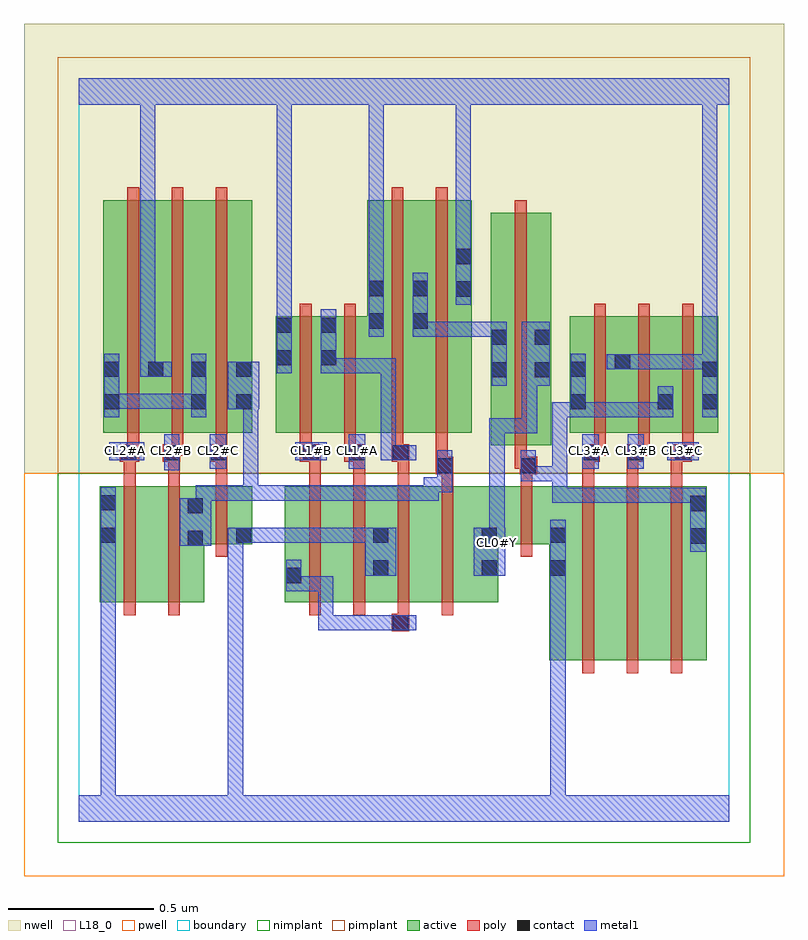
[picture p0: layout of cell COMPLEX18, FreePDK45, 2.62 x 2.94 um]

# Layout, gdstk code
import gdstk
lib = gdstk.Library(unit=1e-6, precision=1e-09)
def R(c, l, rs):  # rectangles x0, y0, x1, y1
    for r in rs: c.add(gdstk.rectangle(r[:2], r[2:], *l))
def A(c, l, x, y, w, h, nx, ny, dx, dy):  # array of equal rectangles
    R(c, l, [(x+i*dx, y+j*dy, x+i*dx+w, y+j*dy+h) for i in range(nx) for j in range(ny)])
active = (1, 0)
pwell = (2, 0)
nwell = (3, 0)
nimplant = (4, 0)
pimplant = (5, 0)
poly = (9, 0)
contact = (10, 0)
metal1 = (11, 0)
L18_0 = (18, 0)
boundary = (235, 0)

complex18 = lib.new_cell('COMPLEX18')
R(complex18, active, [(1.62,0.556,1.83,1.156), (1.83,0.556,1.982,1.156), (1.982,0.556,2.162,1.156), (2.102,0.556,2.162,1.156), (0.072,0.756,0.132,1.156), (0.072,0.756,0.252,1.156), (0.252,0.756,0.432,1.156), (0.372,0.756,0.432,1.128), (0.71,0.756,0.77,1.156), (0.71,0.756,0.89,1.156), (0.89,0.756,1.07,1.156), (1.01,0.756,1.194,1.156), (1.01,0.756,1.07,1.156), (1.194,0.756,1.444,1.156), (1.384,0.844,1.444,1.156), (1.62,0.844,1.68,1.156), (0.372,0.956,0.598,1.156), (0.538,0.956,0.598,1.156), (1.384,0.956,1.68,1.156), (1.418,1.296,1.478,2.044), (1.418,1.296,1.626,2.096), (1.566,1.296,1.626,2.044), (0.084,1.34,0.144,2.14), (0.084,1.34,0.296,2.14), (0.236,1.34,0.444,2.14), (0.236,1.34,0.296,2.044), (0.384,1.34,0.444,2.044), (0.384,1.34,0.598,2.14), (0.538,1.34,0.598,2.044), (0.678,1.34,0.738,1.74), (0.678,1.34,0.89,1.74), (0.83,1.34,0.89,1.74), (0.83,1.34,1.054,1.74), (0.994,1.34,1.054,2.14), (0.994,1.34,1.206,2.14), (1.146,1.34,1.354,2.14), (1.146,1.34,1.206,2.044), (1.294,1.34,1.354,2.14), (1.69,1.34,1.902,1.74), (1.69,1.34,1.75,1.644), (1.842,1.34,2.05,1.74), (1.842,1.34,1.902,1.644), (1.99,1.34,2.202,1.74), (2.142,1.34,2.202,1.74), (1.99,1.416,2.05,1.644)])
R(complex18, pwell, [(-0.188,-0.188,2.428,1.2)])
R(complex18, nwell, [(-0.188,1.2,2.428,2.748)])
R(complex18, nimplant, [(-0.072,-0.072,2.312,1.2)])
R(complex18, pimplant, [(-0.072,1.2,2.312,2.632)])
A(complex18, poly, 1.734, 0.512, 0.04, 0.688, 3, 1, 0.152, 0)
A(complex18, poly, 0.794, 0.712, 0.04, 0.488, 4, 1, 0.152, 0)
A(complex18, poly, 0.794, 1.16, 0.04, 0.12, 3, 1, 0.152, 0)
A(complex18, poly, 1.734, 1.16, 0.04, 0.12, 3, 1, 0.152, 0)
A(complex18, poly, 0.168, 1.26, 0.04, 0.076, 3, 1, 0.152, 0)
A(complex18, poly, 1.774, 1.26, 0.04, 0.076, 3, 1, 0.152, 0)
A(complex18, poly, 0.168, 1.296, 0.04, 0.888, 3, 1, 0.152, 0)
A(complex18, poly, 1.774, 1.296, 0.04, 0.488, 3, 1, 0.152, 0)
R(complex18, poly, [(1.078,0.656,1.138,0.716), (1.098,0.676,1.138,0.752), (0.156,0.712,0.196,1.2), (0.308,0.712,0.348,1.2), (0.472,0.912,0.512,1.2), (1.522,0.912,1.562,1.2), (0.156,1.16,0.196,1.28), (0.308,1.16,0.348,1.28), (0.472,1.16,0.512,1.28), (1.25,1.16,1.29,1.236), (1.522,1.16,1.562,1.236), (1.23,1.196,1.29,1.256), (1.518,1.196,1.578,1.256), (1.23,1.216,1.27,1.256), (1.23,1.216,1.27,1.256), (1.23,1.216,1.27,1.336), (1.502,1.216,1.542,1.292), (1.502,1.216,1.558,1.256), (1.518,1.216,1.558,1.256), (0.142,1.24,0.208,1.3), (0.156,1.24,0.196,1.28), (0.156,1.24,0.196,1.28), (0.29,1.24,0.35,1.3), (0.452,1.24,0.512,1.3), (0.472,1.24,0.512,1.28), (0.472,1.24,0.512,1.28), (0.762,1.24,0.83,1.3), (0.79,1.24,0.83,1.28), (0.79,1.24,0.834,1.28), (0.914,1.24,0.986,1.3), (0.946,1.24,0.986,1.28), (0.946,1.24,0.986,1.28), (1.078,1.24,1.138,1.3), (1.098,1.24,1.138,1.28), (1.098,1.24,1.138,1.28), (1.734,1.24,1.794,1.3), (1.886,1.24,1.946,1.3), (2.038,1.24,2.11,1.3), (1.502,1.252,1.542,2.14), (0.31,1.26,0.35,1.3), (0.31,1.26,0.36,1.3), (0.762,1.26,0.802,1.336), (0.914,1.26,0.954,1.336), (1.078,1.26,1.118,1.336), (1.754,1.26,1.794,1.3), (1.754,1.26,1.814,1.3), (1.906,1.26,1.946,1.3), (1.906,1.26,1.966,1.3), (2.07,1.26,2.11,1.3), (2.07,1.26,2.118,1.3), (0.762,1.296,0.802,1.784), (0.914,1.296,0.954,1.784), (1.078,1.296,1.118,2.184), (1.23,1.296,1.27,2.184)])
R(complex18, contact, [(1.082,0.66,1.134,0.712), (0.714,0.822,0.766,0.874), (1.014,0.848,1.066,0.9), (1.388,0.848,1.44,0.9), (1.624,0.848,1.676,0.9), (0.376,0.95,0.428,1.002), (2.106,0.958,2.158,1.01), (0.076,0.96,0.128,1.012), (0.542,0.96,0.594,1.012), (1.014,0.96,1.066,1.012), (1.388,0.96,1.44,1.012), (1.624,0.96,1.676,1.012), (0.376,1.062,0.428,1.114), (2.106,1.07,2.158,1.122), (0.076,1.072,0.128,1.124), (1.234,1.2,1.286,1.252), (1.522,1.2,1.574,1.252), (0.146,1.244,0.198,1.296), (0.294,1.244,0.346,1.296), (0.456,1.244,0.508,1.296), (0.774,1.244,0.826,1.296), (0.93,1.244,0.982,1.296), (1.082,1.244,1.134,1.296), (1.738,1.244,1.79,1.296), (1.89,1.244,1.942,1.296), (2.054,1.244,2.106,1.296), (0.088,1.42,0.14,1.472), (0.388,1.42,0.44,1.472), (0.542,1.42,0.594,1.472), (1.694,1.42,1.746,1.472), (1.994,1.42,2.046,1.472), (2.146,1.42,2.198,1.472), (1.422,1.53,1.474,1.582), (1.57,1.53,1.622,1.582), (0.088,1.532,0.14,1.584), (0.24,1.532,0.292,1.584), (0.388,1.532,0.44,1.584), (0.542,1.532,0.594,1.584), (1.694,1.532,1.746,1.584), (2.146,1.532,2.198,1.584), (1.846,1.558,1.898,1.61), (0.682,1.572,0.734,1.624), (0.834,1.572,0.886,1.624), (1.422,1.642,1.474,1.694), (1.57,1.642,1.622,1.694), (0.682,1.684,0.734,1.736), (0.834,1.684,0.886,1.736), (0.998,1.698,1.05,1.75), (1.15,1.698,1.202,1.75), (1.298,1.808,1.35,1.86), (0.998,1.81,1.05,1.862), (1.15,1.81,1.202,1.862), (1.298,1.92,1.35,1.972)])
R(complex18, metal1, [(0,0,2.24,0.092), (0.076,0.04,0.128,0.092), (0.076,0.04,0.128,0.092), (0.076,0.04,0.128,0.092), (0.076,0.04,0.128,0.092), (0.076,0.04,0.128,0.092), (0.076,0.04,0.128,0.092), (0.076,0.04,0.128,0.092), (0.076,0.04,0.128,0.092), (0.076,0.04,0.128,0.092), (0.076,0.04,0.128,0.092), (0.076,0.04,0.128,0.092), (0.076,0.04,0.128,0.092), (0.076,0.04,0.128,0.984), (0.514,0.04,0.566,0.092), (0.514,0.04,0.566,0.092), (0.514,0.04,0.566,0.092), (0.514,0.04,0.566,0.092), (0.514,0.04,0.566,0.092), (0.514,0.04,0.566,0.092), (0.514,0.04,0.566,0.092), (0.514,0.04,0.566,0.092), (0.514,0.04,0.566,0.092), (0.514,0.04,0.566,0.092), (0.514,0.04,0.566,0.092), (0.514,0.04,0.566,0.092), (0.514,0.04,0.566,0.092), (0.514,0.04,0.566,0.092), (0.514,0.04,0.566,0.092), (0.514,0.04,0.566,0.092), (0.514,0.04,0.566,1.012), (1.624,0.04,1.676,0.872), (0.824,0.66,0.876,0.712), (0.824,0.66,0.876,0.712), (0.824,0.66,0.876,0.712), (0.824,0.66,1.038,0.712), (0.824,0.66,0.876,0.846), (0.986,0.66,1.038,0.712), (0.986,0.66,1.106,0.712), (1.054,0.66,1.162,0.712), (0.714,0.794,0.766,0.846), (0.714,0.794,0.766,0.846), (0.714,0.794,0.766,0.902), (0.714,0.794,0.876,0.846), (0.824,0.794,0.876,0.846), (1.624,0.82,1.676,0.872), (1.624,0.82,1.676,0.872), (1.624,0.82,1.676,0.872), (1.624,0.82,1.676,0.872), (1.624,0.82,1.676,0.872), (1.624,0.82,1.676,0.872), (1.624,0.82,1.676,0.872), (1.624,0.82,1.676,0.872), (1.624,0.82,1.676,1.04), (0.986,0.848,1.094,1.012), (1.36,0.848,1.468,1.012), (1.414,0.906,1.466,1.014), (2.106,0.93,2.158,1.15), (0.076,0.932,0.128,1.152), (0.348,0.95,0.456,1.114), (0.514,0.96,0.622,1.012), (0.57,0.96,0.622,1.012), (0.57,0.96,0.622,1.012), (0.57,0.96,0.622,1.012), (0.57,0.96,0.622,1.012), (0.57,0.96,0.766,1.012), (0.714,0.96,0.766,1.012), (0.714,0.96,0.928,1.012), (0.876,0.96,0.928,1.012), (0.876,0.96,0.928,1.012), (0.876,0.96,0.928,1.012), (0.876,0.96,1.038,1.012), (1.414,0.96,1.466,1.012), (1.414,0.962,1.466,1.39), (0.404,1.062,0.456,1.158), (1.63,1.098,1.682,1.15), (1.63,1.098,1.79,1.15), (1.63,1.098,1.682,1.224), (1.738,1.098,1.79,1.15), (1.738,1.098,1.9,1.15), (1.848,1.098,1.9,1.15), (1.848,1.098,1.9,1.15), (1.848,1.098,1.9,1.15), (1.848,1.098,2.036,1.15), (1.984,1.098,2.036,1.15), (1.984,1.098,2.036,1.15), (1.984,1.098,2.036,1.15), (1.984,1.098,2.158,1.15), (0.404,1.106,0.456,1.158), (0.404,1.106,0.456,1.158), (0.404,1.106,0.456,1.158), (0.404,1.106,0.618,1.158), (0.566,1.106,0.618,1.158), (0.566,1.106,0.618,1.158), (0.566,1.106,0.618,1.158), (0.566,1.106,0.732,1.158), (0.566,1.106,0.618,1.472), (0.68,1.106,0.732,1.158), (0.68,1.106,0.928,1.158), (0.876,1.106,0.928,1.158), (0.876,1.106,0.928,1.158), (0.876,1.106,0.928,1.158), (0.876,1.106,1.038,1.158), (0.986,1.106,1.038,1.158), (0.986,1.106,1.096,1.158), (1.044,1.106,1.096,1.158), (1.044,1.106,1.24,1.158), (1.188,1.106,1.24,1.186), (1.188,1.134,1.286,1.186), (1.234,1.134,1.286,1.28), (1.522,1.172,1.574,1.28), (1.522,1.172,1.636,1.224), (1.584,1.172,1.636,1.224), (1.584,1.172,1.682,1.224), (1.63,1.172,1.682,1.224), (1.63,1.172,1.682,1.444), (0.294,1.21,0.346,1.334), (0.452,1.216,0.508,1.334), (0.93,1.216,0.986,1.334), (1.734,1.216,1.79,1.334), (1.89,1.216,1.946,1.334), (0.106,1.244,0.226,1.306), (0.746,1.244,0.854,1.306), (1.04,1.244,1.092,1.296), (1.04,1.244,1.106,1.296), (1.04,1.244,1.092,1.596), (1.054,1.244,1.162,1.296), (2.026,1.244,2.134,1.306), (1.414,1.338,1.466,1.39), (1.414,1.338,1.466,1.39), (1.414,1.338,1.466,1.39), (1.414,1.338,1.578,1.39), (1.526,1.338,1.578,1.39), (1.526,1.338,1.578,1.554), (0.088,1.392,0.14,1.612), (0.388,1.392,0.44,1.612), (1.63,1.392,1.746,1.444), (1.694,1.392,1.746,1.444), (1.694,1.392,1.746,1.444), (1.694,1.392,1.746,1.444), (1.694,1.392,1.746,1.612), (1.694,1.392,1.926,1.444), (1.874,1.392,1.926,1.444), (1.874,1.392,1.926,1.444), (1.874,1.392,1.926,1.444), (1.874,1.392,2.046,1.444), (1.994,1.392,2.046,1.5), (2.146,1.392,2.198,1.612), (0.514,1.42,0.622,1.584), (0.566,1.42,0.618,1.472), (0.566,1.42,0.618,1.472), (0.088,1.422,0.14,1.474), (0.088,1.422,0.14,1.474), (0.088,1.422,0.29,1.474), (0.238,1.422,0.29,1.474), (0.238,1.422,0.29,1.474), (0.238,1.422,0.29,1.474), (0.238,1.422,0.44,1.474), (1.422,1.502,1.474,1.722), (1.526,1.502,1.622,1.722), (0.212,1.532,0.264,1.584), (0.212,1.532,0.264,1.584), (0.212,1.532,0.264,1.584), (0.212,1.532,0.264,1.584), (0.212,1.532,0.264,1.584), (0.212,1.532,0.264,1.584), (0.212,1.532,0.32,1.584), (0.212,1.532,0.264,2.52), (0.682,1.544,0.734,1.764), (0.834,1.544,0.886,1.596), (0.834,1.544,0.886,1.596), (0.834,1.544,0.886,1.764), (0.834,1.544,1.092,1.596), (1.04,1.544,1.092,1.596), (1.818,1.558,1.926,1.61), (1.874,1.558,1.926,1.61), (1.874,1.558,1.926,1.61), (1.874,1.558,2.048,1.61), (1.996,1.558,2.048,1.61), (1.996,1.558,2.198,1.61), (2.146,1.558,2.198,1.61), (2.146,1.558,2.198,1.61), (2.146,1.56,2.198,2.52), (2.146,1.56,2.198,1.612), (2.146,1.56,2.198,1.612), (2.146,1.56,2.198,1.612), (2.146,1.56,2.198,1.612), (2.146,1.56,2.198,1.612), (2.146,1.56,2.198,1.612), (2.146,1.56,2.198,1.612), (2.146,1.56,2.198,1.612), (2.146,1.56,2.198,1.612), (2.146,1.56,2.198,1.612), (2.146,1.56,2.198,1.612), (2.146,1.56,2.198,1.612), (2.146,1.56,2.198,1.612), (2.146,1.56,2.198,1.612), (0.998,1.67,1.05,1.89), (1.15,1.67,1.202,1.89), (1.15,1.67,1.206,1.722), (1.154,1.67,1.206,1.722), (1.154,1.67,1.356,1.722), (1.304,1.67,1.356,1.722), (1.304,1.67,1.474,1.722), (0.682,1.712,0.734,1.764), (0.682,1.712,0.734,1.764), (0.682,1.712,0.734,1.764), (0.682,1.712,0.734,1.764), (0.682,1.712,0.734,1.764), (0.682,1.712,0.734,1.764), (0.682,1.712,0.734,1.764), (0.682,1.712,0.734,1.764), (0.682,1.712,0.734,1.764), (0.682,1.712,0.734,1.764), (0.682,1.712,0.734,1.764), (0.682,1.712,0.734,1.764), (0.682,1.712,0.734,2.52), (1.298,1.78,1.35,2), (0.998,1.838,1.05,2.52), (1.298,1.948,1.35,2), (1.298,1.948,1.35,2), (1.298,1.948,1.35,2), (1.298,1.948,1.35,2), (1.298,1.948,1.35,2), (1.298,1.948,1.35,2), (1.298,1.948,1.35,2), (1.298,1.948,1.35,2), (1.298,1.948,1.35,2.52), (0,2.468,2.24,2.56), (0.212,2.468,0.264,2.52), (0.212,2.468,0.264,2.52), (0.682,2.468,0.734,2.52), (0.682,2.468,0.734,2.52), (0.682,2.468,0.734,2.52), (0.682,2.468,0.734,2.52), (0.998,2.468,1.05,2.52), (0.998,2.468,1.05,2.52), (0.998,2.468,1.05,2.52), (0.998,2.468,1.05,2.52), (0.998,2.468,1.05,2.52), (0.998,2.468,1.05,2.52), (0.998,2.468,1.05,2.52), (0.998,2.468,1.05,2.52), (2.146,2.468,2.198,2.52), (2.146,2.468,2.198,2.52)])
A(complex18, L18_0, 0.134, 1.254, 0.052, 0.052, 3, 1, 0.16, 0)
A(complex18, L18_0, 1.734, 1.254, 0.052, 0.052, 3, 1, 0.16, 0)
R(complex18, L18_0, [(0,0,2.24,0.092), (0.076,0.04,0.128,0.092), (0.076,0.04,0.128,0.092), (0.076,0.04,0.128,0.092), (0.076,0.04,0.128,0.092), (0.076,0.04,0.128,0.092), (0.076,0.04,0.128,0.092), (0.076,0.04,0.128,0.092), (0.076,0.04,0.128,0.092), (0.076,0.04,0.128,0.092), (0.076,0.04,0.128,0.092), (0.076,0.04,0.128,0.092), (0.076,0.04,0.128,0.092), (0.076,0.04,0.128,0.984), (0.514,0.04,0.566,0.092), (0.514,0.04,0.566,0.092), (0.514,0.04,0.566,0.092), (0.514,0.04,0.566,0.092), (0.514,0.04,0.566,0.092), (0.514,0.04,0.566,0.092), (0.514,0.04,0.566,0.092), (0.514,0.04,0.566,0.092), (0.514,0.04,0.566,0.092), (0.514,0.04,0.566,0.092), (0.514,0.04,0.566,0.092), (0.514,0.04,0.566,0.092), (0.514,0.04,0.566,0.092), (0.514,0.04,0.566,0.092), (0.514,0.04,0.566,0.092), (0.514,0.04,0.566,0.092), (0.514,0.04,0.566,1.012), (1.624,0.04,1.676,0.872), (1.624,0.82,1.676,0.872), (1.624,0.82,1.676,0.872), (1.624,0.82,1.676,0.872), (1.624,0.82,1.676,0.872), (1.624,0.82,1.676,0.872), (1.624,0.82,1.676,0.872), (1.624,0.82,1.676,0.872), (1.624,0.82,1.676,0.872), (1.624,0.82,1.676,1.04), (0.986,0.848,1.094,1.012), (1.36,0.848,1.468,1.012), (1.414,0.906,1.466,1.014), (0.076,0.932,0.128,1.152), (1.414,0.934,1.466,0.986), (0.514,0.96,0.622,1.012), (0.57,0.96,0.622,1.012), (0.57,0.96,0.622,1.012), (0.57,0.96,0.622,1.012), (0.57,0.96,0.622,1.012), (0.57,0.96,0.766,1.012), (0.714,0.96,0.766,1.012), (0.714,0.96,0.928,1.012), (0.876,0.96,0.928,1.012), (0.876,0.96,0.928,1.012), (0.876,0.96,0.928,1.012), (0.876,0.96,1.038,1.012), (1.414,0.96,1.466,1.012), (1.414,0.962,1.466,1.39), (0.294,1.21,0.346,1.334), (0.452,1.216,0.508,1.334), (0.93,1.216,0.986,1.334), (1.734,1.216,1.79,1.334), (1.89,1.216,1.946,1.334), (0.106,1.244,0.226,1.306), (0.746,1.244,0.854,1.306), (2.026,1.244,2.134,1.306), (0.774,1.254,0.826,1.306), (0.934,1.254,0.986,1.306), (1.414,1.338,1.466,1.39), (1.414,1.338,1.466,1.39), (1.414,1.338,1.466,1.39), (1.414,1.338,1.578,1.39), (1.526,1.338,1.578,1.39), (1.526,1.338,1.578,1.554), (2.146,1.392,2.198,1.612), (1.526,1.502,1.622,1.722), (0.212,1.532,0.264,1.584), (0.212,1.532,0.264,1.584), (0.212,1.532,0.264,1.584), (0.212,1.532,0.264,1.584), (0.212,1.532,0.264,1.584), (0.212,1.532,0.264,1.584), (0.212,1.532,0.32,1.584), (0.212,1.532,0.264,2.52), (0.682,1.544,0.734,1.764), (1.818,1.558,1.926,1.61), (1.874,1.558,1.926,1.61), (1.874,1.558,1.926,1.61), (1.874,1.558,2.048,1.61), (1.996,1.558,2.048,1.61), (1.996,1.558,2.198,1.61), (2.146,1.558,2.198,1.61), (2.146,1.558,2.198,1.61), (2.146,1.56,2.198,1.612), (2.146,1.56,2.198,1.612), (2.146,1.56,2.198,1.612), (2.146,1.56,2.198,1.612), (2.146,1.56,2.198,1.612), (2.146,1.56,2.198,1.612), (2.146,1.56,2.198,1.612), (2.146,1.56,2.198,1.612), (2.146,1.56,2.198,1.612), (2.146,1.56,2.198,1.612), (2.146,1.56,2.198,1.612), (2.146,1.56,2.198,1.612), (2.146,1.56,2.198,1.612), (2.146,1.56,2.198,1.612), (2.146,1.56,2.198,2.52), (0.998,1.67,1.05,1.89), (0.682,1.712,0.734,1.764), (0.682,1.712,0.734,1.764), (0.682,1.712,0.734,1.764), (0.682,1.712,0.734,1.764), (0.682,1.712,0.734,1.764), (0.682,1.712,0.734,1.764), (0.682,1.712,0.734,1.764), (0.682,1.712,0.734,1.764), (0.682,1.712,0.734,1.764), (0.682,1.712,0.734,1.764), (0.682,1.712,0.734,1.764), (0.682,1.712,0.734,1.764), (0.682,1.712,0.734,2.52), (1.298,1.78,1.35,2), (0.998,1.838,1.05,2.52), (1.298,1.948,1.35,2), (1.298,1.948,1.35,2), (1.298,1.948,1.35,2), (1.298,1.948,1.35,2), (1.298,1.948,1.35,2), (1.298,1.948,1.35,2), (1.298,1.948,1.35,2), (1.298,1.948,1.35,2), (1.298,1.948,1.35,2.52), (0,2.468,2.24,2.56), (0.212,2.468,0.264,2.52), (0.212,2.468,0.264,2.52), (0.682,2.468,0.734,2.52), (0.682,2.468,0.734,2.52), (0.682,2.468,0.734,2.52), (0.682,2.468,0.734,2.52), (0.998,2.468,1.05,2.52), (0.998,2.468,1.05,2.52), (0.998,2.468,1.05,2.52), (0.998,2.468,1.05,2.52), (0.998,2.468,1.05,2.52), (0.998,2.468,1.05,2.52), (0.998,2.468,1.05,2.52), (0.998,2.468,1.05,2.52), (2.146,2.468,2.198,2.52), (2.146,2.468,2.198,2.52)])
R(complex18, boundary, [(0,0,2.24,2.56)])
complex18.add(gdstk.Label('CL0#Y', (1.44,0.96), layer=11, texttype=0))
complex18.add(gdstk.Label('CL1#A', (0.96,1.28), layer=11, texttype=0))
complex18.add(gdstk.Label('CL1#B', (0.8,1.28), layer=11, texttype=0))
complex18.add(gdstk.Label('CL2#A', (0.16,1.28), layer=11, texttype=0))
complex18.add(gdstk.Label('CL2#B', (0.32,1.28), layer=11, texttype=0))
complex18.add(gdstk.Label('CL2#C', (0.48,1.28), layer=11, texttype=0))
complex18.add(gdstk.Label('CL3#A', (1.76,1.28), layer=11, texttype=0))
complex18.add(gdstk.Label('CL3#B', (1.92,1.28), layer=11, texttype=0))
complex18.add(gdstk.Label('CL3#C', (2.08,1.28), layer=11, texttype=0))

lib.write_gds('COMPLEX18.gds')
